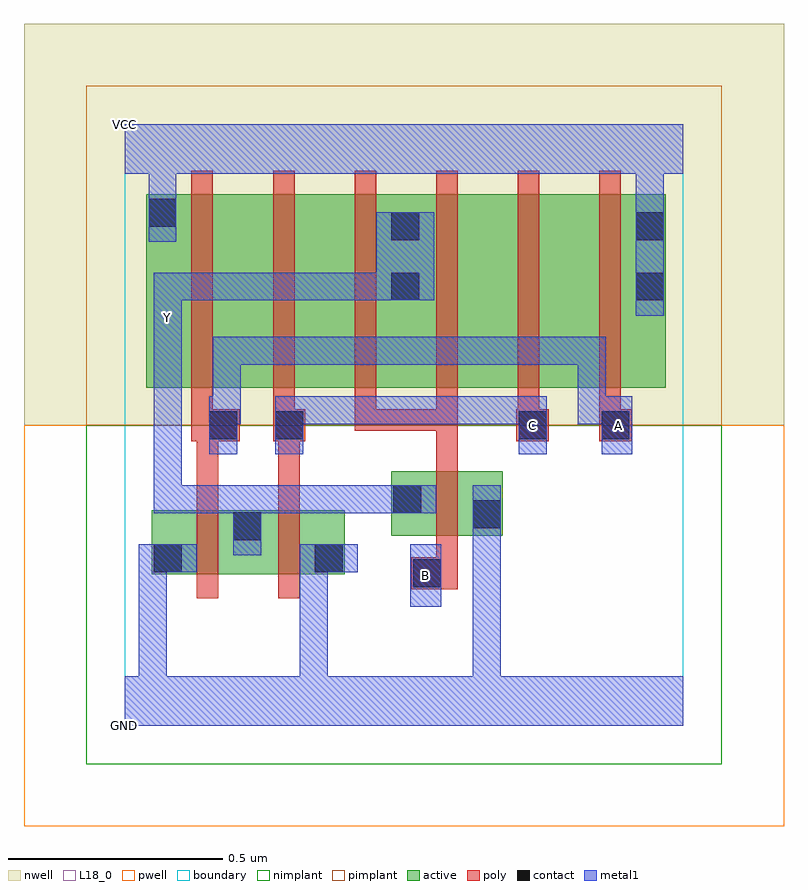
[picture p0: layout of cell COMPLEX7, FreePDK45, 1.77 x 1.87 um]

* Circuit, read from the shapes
.subckt COMPLEX7 A B C GND VCC Y
M1 Y A GND VSUBS nfet w=0.15u l=0.05u
M2 GND C Y VSUBS nfet w=0.15u l=0.05u
M3 GND B Y VSUBS nfet w=0.15u l=0.05u
M4 n1 A VCC n2 pfet w=0.45u l=0.05u
M5 n3 C n1 n2 pfet w=0.45u l=0.05u
M6 Y B n3 n2 pfet w=0.45u l=0.05u
M7 n4 B Y n2 pfet w=0.45u l=0.05u
M8 n5 C n4 n2 pfet w=0.45u l=0.05u
M9 VCC A n5 n2 pfet w=0.45u l=0.05u
.ends

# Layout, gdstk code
import gdstk
lib = gdstk.Library(unit=1e-6, precision=1e-09)
def R(c, l, rs):  # rectangles x0, y0, x1, y1
    for r in rs: c.add(gdstk.rectangle(r[:2], r[2:], *l))
def A(c, l, x, y, w, h, nx, ny, dx, dy):  # array of equal rectangles
    R(c, l, [(x+i*dx, y+j*dy, x+i*dx+w, y+j*dy+h) for i in range(nx) for j in range(ny)])
active = (1, 0)
pwell = (2, 0)
nwell = (3, 0)
nimplant = (4, 0)
pimplant = (5, 0)
poly = (9, 0)
contact = (10, 0)
metal1 = (11, 0)
L18_0 = (18, 0)
boundary = (235, 0)

complex7 = lib.new_cell('COMPLEX7')
R(complex7, active, [(0.062,0.352,0.137,0.502), (0.062,0.352,0.322,0.502), (0.247,0.352,0.322,0.502), (0.247,0.352,0.512,0.502), (0.437,0.352,0.512,0.502), (0.62,0.442,0.695,0.592), (0.62,0.442,0.88,0.592), (0.805,0.442,0.88,0.592), (0.05,0.787,0.275,1.237), (0.05,0.787,0.125,1.237), (0.275,0.787,0.465,1.237), (0.465,0.787,0.69,1.237), (0.615,0.787,0.845,1.237), (0.845,0.787,1.035,1.237), (1.035,0.787,1.26,1.237), (1.185,0.787,1.26,1.205), (0.615,0.857,0.69,1.2)])
R(complex7, pwell, [(-0.235,-0.235,1.535,0.7)])
R(complex7, nwell, [(-0.235,0.7,1.535,1.635)])
R(complex7, nimplant, [(-0.09,-0.09,1.39,0.7)])
R(complex7, pimplant, [(-0.09,0.7,1.39,1.49)])
A(complex7, poly, 0.155, 0.687, 0.05, 0.095, 6, 1, 0.19, 0)
A(complex7, poly, 0.155, 0.732, 0.05, 0.56, 6, 1, 0.19, 0)
R(complex7, poly, [(0.167,0.297,0.217,0.557), (0.357,0.297,0.407,0.557), (0.667,0.317,0.775,0.392), (0.725,0.342,0.775,0.437), (0.725,0.387,0.775,0.647), (0.167,0.507,0.217,0.712), (0.357,0.507,0.407,0.712), (0.725,0.597,0.775,0.737), (0.155,0.662,0.267,0.737), (0.345,0.662,0.42,0.737), (0.912,0.662,0.987,0.737), (1.105,0.662,1.18,0.737), (0.535,0.687,0.585,0.737), (0.535,0.687,0.775,0.737), (0.725,0.687,0.775,0.737), (0.725,0.687,0.775,0.737), (0.725,0.687,0.775,0.737)])
R(complex7, contact, [(0.672,0.322,0.737,0.387), (0.067,0.357,0.132,0.422), (0.442,0.357,0.507,0.422), (0.252,0.432,0.317,0.497), (0.81,0.46,0.875,0.525), (0.625,0.495,0.69,0.56), (0.197,0.667,0.262,0.732), (0.35,0.667,0.415,0.732), (0.917,0.667,0.982,0.732), (1.11,0.667,1.175,0.732), (0.62,0.99,0.685,1.055), (1.19,0.99,1.255,1.055), (0.62,1.13,0.685,1.195), (1.19,1.13,1.255,1.195), (0.055,1.162,0.12,1.227)])
R(complex7, metal1, [(0,0,1.3,0.115), (0.032,0.05,0.097,0.422), (0.407,0.05,0.472,0.115), (0.407,0.05,0.472,0.115), (0.407,0.05,0.472,0.115), (0.407,0.05,0.472,0.115), (0.407,0.05,0.472,0.115), (0.407,0.05,0.472,0.115), (0.407,0.05,0.472,0.422), (0.81,0.05,0.875,0.115), (0.81,0.05,0.875,0.115), (0.81,0.05,0.875,0.115), (0.81,0.05,0.875,0.115), (0.81,0.05,0.875,0.115), (0.81,0.05,0.875,0.115), (0.81,0.05,0.875,0.49), (0.665,0.277,0.737,0.422), (0.032,0.357,0.097,0.422), (0.032,0.357,0.097,0.422), (0.032,0.357,0.097,0.422), (0.032,0.357,0.097,0.422), (0.032,0.357,0.097,0.422), (0.032,0.357,0.097,0.422), (0.032,0.357,0.167,0.422), (0.407,0.357,0.542,0.422), (0.252,0.397,0.317,0.56), (0.81,0.425,0.875,0.56), (0.067,0.495,0.132,0.56), (0.067,0.495,0.132,0.56), (0.067,0.495,0.132,0.56), (0.067,0.495,0.317,0.56), (0.067,0.495,0.132,0.947), (0.252,0.495,0.455,0.56), (0.39,0.495,0.455,0.56), (0.39,0.495,0.455,0.56), (0.39,0.495,0.455,0.56), (0.39,0.495,0.592,0.56), (0.527,0.495,0.592,0.56), (0.527,0.495,0.655,0.56), (0.59,0.495,0.725,0.56), (0.197,0.632,0.262,0.767), (0.35,0.632,0.415,0.767), (0.917,0.632,0.982,0.767), (1.11,0.632,1.182,0.767), (0.197,0.702,0.27,0.767), (0.205,0.702,0.27,0.905), (0.205,0.702,0.27,0.767), (0.35,0.702,0.455,0.767), (0.39,0.702,0.455,0.767), (0.39,0.702,0.592,0.767), (0.527,0.702,0.592,0.767), (0.527,0.702,0.592,0.767), (0.527,0.702,0.592,0.767), (0.527,0.702,0.845,0.767), (0.78,0.702,0.845,0.767), (0.78,0.702,0.845,0.767), (0.78,0.702,0.845,0.767), (0.78,0.702,0.982,0.767), (1.055,0.702,1.175,0.767), (1.055,0.702,1.12,0.905), (1.055,0.702,1.12,0.767), (0.205,0.84,0.27,0.905), (0.205,0.84,0.455,0.905), (0.39,0.84,0.455,0.905), (0.39,0.84,0.455,0.905), (0.39,0.84,0.455,0.905), (0.39,0.84,0.592,0.905), (0.527,0.84,0.73,0.905), (0.527,0.84,0.592,0.905), (0.527,0.84,0.592,0.905), (0.527,0.84,0.592,0.905), (0.665,0.84,0.73,0.905), (0.665,0.84,0.982,0.905), (0.917,0.84,1.12,0.905), (0.917,0.84,0.982,0.905), (0.917,0.84,0.982,0.905), (0.917,0.84,0.982,0.905), (1.055,0.84,1.12,0.905), (0.067,0.882,0.132,1.017), (0.067,0.952,0.132,1.017), (0.067,0.952,0.132,1.017), (0.067,0.952,0.132,1.055), (1.19,0.955,1.255,1.23), (0.067,0.99,0.132,1.055), (0.067,0.99,0.277,1.055), (0.212,0.99,0.277,1.055), (0.212,0.99,0.277,1.055), (0.212,0.99,0.277,1.055), (0.212,0.99,0.455,1.055), (0.39,0.99,0.455,1.055), (0.39,0.99,0.455,1.055), (0.39,0.99,0.455,1.055), (0.39,0.99,0.592,1.055), (0.527,0.99,0.592,1.055), (0.527,0.99,0.65,1.055), (0.585,0.99,0.72,1.195), (0.055,1.127,0.12,1.262), (1.19,1.165,1.255,1.35), (0.055,1.197,0.12,1.35), (0,1.285,1.3,1.4)])
R(complex7, L18_0, [(0,0,1.3,0.115), (0.032,0.05,0.097,0.422), (0.407,0.05,0.472,0.115), (0.407,0.05,0.472,0.115), (0.407,0.05,0.472,0.115), (0.407,0.05,0.472,0.115), (0.407,0.05,0.472,0.115), (0.407,0.05,0.472,0.115), (0.407,0.05,0.472,0.422), (0.81,0.05,0.875,0.115), (0.81,0.05,0.875,0.115), (0.81,0.05,0.875,0.115), (0.81,0.05,0.875,0.115), (0.81,0.05,0.875,0.115), (0.81,0.05,0.875,0.115), (0.81,0.05,0.875,0.49), (0.665,0.277,0.737,0.422), (0.667,0.317,0.732,0.382), (0.032,0.357,0.097,0.422), (0.032,0.357,0.097,0.422), (0.032,0.357,0.097,0.422), (0.032,0.357,0.097,0.422), (0.032,0.357,0.097,0.422), (0.032,0.357,0.097,0.422), (0.032,0.357,0.167,0.422), (0.407,0.357,0.542,0.422), (0.252,0.397,0.317,0.56), (0.81,0.425,0.875,0.56), (0.067,0.495,0.132,0.56), (0.067,0.495,0.132,0.56), (0.067,0.495,0.132,0.56), (0.067,0.495,0.132,0.947), (0.067,0.495,0.317,0.56), (0.252,0.495,0.455,0.56), (0.39,0.495,0.455,0.56), (0.39,0.495,0.455,0.56), (0.39,0.495,0.455,0.56), (0.39,0.495,0.592,0.56), (0.527,0.495,0.592,0.56), (0.527,0.495,0.655,0.56), (0.59,0.495,0.725,0.56), (0.197,0.632,0.262,0.767), (0.35,0.632,0.415,0.767), (0.917,0.632,0.982,0.767), (1.11,0.632,1.182,0.767), (0.917,0.667,0.982,0.732), (1.117,0.667,1.182,0.732), (0.197,0.702,0.27,0.767), (0.205,0.702,0.27,0.767), (0.205,0.702,0.27,0.905), (0.35,0.702,0.455,0.767), (0.39,0.702,0.455,0.767), (0.39,0.702,0.592,0.767), (0.527,0.702,0.592,0.767), (0.527,0.702,0.592,0.767), (0.527,0.702,0.592,0.767), (0.527,0.702,0.845,0.767), (0.78,0.702,0.845,0.767), (0.78,0.702,0.845,0.767), (0.78,0.702,0.845,0.767), (0.78,0.702,0.982,0.767), (1.055,0.702,1.12,0.767), (1.055,0.702,1.12,0.905), (1.055,0.702,1.175,0.767), (0.205,0.84,0.27,0.905), (0.205,0.84,0.455,0.905), (0.39,0.84,0.455,0.905), (0.39,0.84,0.455,0.905), (0.39,0.84,0.455,0.905), (0.39,0.84,0.592,0.905), (0.527,0.84,0.592,0.905), (0.527,0.84,0.592,0.905), (0.527,0.84,0.592,0.905), (0.527,0.84,0.73,0.905), (0.665,0.84,0.73,0.905), (0.665,0.84,0.982,0.905), (0.917,0.84,0.982,0.905), (0.917,0.84,0.982,0.905), (0.917,0.84,0.982,0.905), (0.917,0.84,1.12,0.905), (1.055,0.84,1.12,0.905), (0.067,0.882,0.132,1.017), (0.067,0.917,0.132,0.982), (0.067,0.952,0.132,1.017), (0.067,0.952,0.132,1.017), (0.067,0.952,0.132,1.055), (1.19,0.955,1.255,1.23), (0.067,0.99,0.132,1.055), (0.067,0.99,0.277,1.055), (0.212,0.99,0.277,1.055), (0.212,0.99,0.277,1.055), (0.212,0.99,0.277,1.055), (0.212,0.99,0.455,1.055), (0.39,0.99,0.455,1.055), (0.39,0.99,0.455,1.055), (0.39,0.99,0.455,1.055), (0.39,0.99,0.592,1.055), (0.527,0.99,0.592,1.055), (0.527,0.99,0.65,1.055), (0.585,0.99,0.72,1.195), (0.055,1.127,0.12,1.262), (1.19,1.165,1.255,1.35), (0.055,1.197,0.12,1.35), (0,1.285,1.3,1.4)])
R(complex7, boundary, [(0,0,1.3,1.4)])
complex7.add(gdstk.Label('A', (1.15,0.7), layer=11, texttype=0))
complex7.add(gdstk.Label('B', (0.7,0.35), layer=11, texttype=0))
complex7.add(gdstk.Label('C', (0.95,0.7), layer=11, texttype=0))
complex7.add(gdstk.Label('Y', (0.1,0.95), layer=11, texttype=0))
complex7.add(gdstk.Label('VCC', (0,1.4), layer=11, texttype=0))
complex7.add(gdstk.Label('GND', (0,0), layer=11, texttype=0))

lib.write_gds('COMPLEX7.gds')
